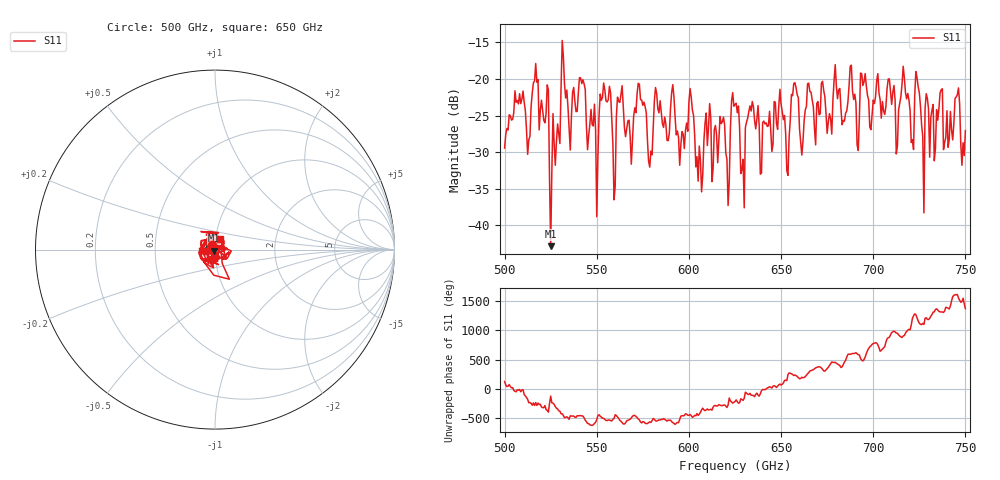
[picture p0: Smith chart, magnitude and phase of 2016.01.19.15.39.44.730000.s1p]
!Created with skrf (http://scikit-rf.org).
# GHz S RI R 50.0
!freq ReS11 ImS11
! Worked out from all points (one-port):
!   401 points, 500 GHz to 750 GHz, reference 50 ohm
!   lowest |S11| = -42.8 dB at 525 GHz (marker M1), VSWR 1.01, Z = 49.6 - j0.604 ohm
!   |S11| at or under -10 dB: start of sweep to end of sweep
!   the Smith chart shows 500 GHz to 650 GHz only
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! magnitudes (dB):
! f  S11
! 500 GHz  -29.4
! 506.9 GHz  -22.9
! 513.1 GHz  -28.3
! 516.9 GHz  -17.9
! 525 GHz  -42.8
! 531.2 GHz  -14.7
! 541.9 GHz  -20.6
! 549.4 GHz  -27.0
! 556.2 GHz  -22.8
! 559.4 GHz  -36.5
! 562.5 GHz  -23.2
! 593.8 GHz  -27.1
! 601.2 GHz  -22.5
! 606.2 GHz  -31.1
! 610.6 GHz  -26.7
! 621.2 GHz  -37.3
! 625 GHz  -23.5
! 629.4 GHz  -31.0
! 633.8 GHz  -24.4
! 653.8 GHz  -33.2
! 656.2 GHz  -22.3
! 661.2 GHz  -30.4
! 665 GHz  -20.6
! 687.5 GHz  -18.3
! 691.2 GHz  -29.0
! 694.4 GHz  -20.9
! 718.8 GHz  -22.0
! 750 GHz  -27.1
